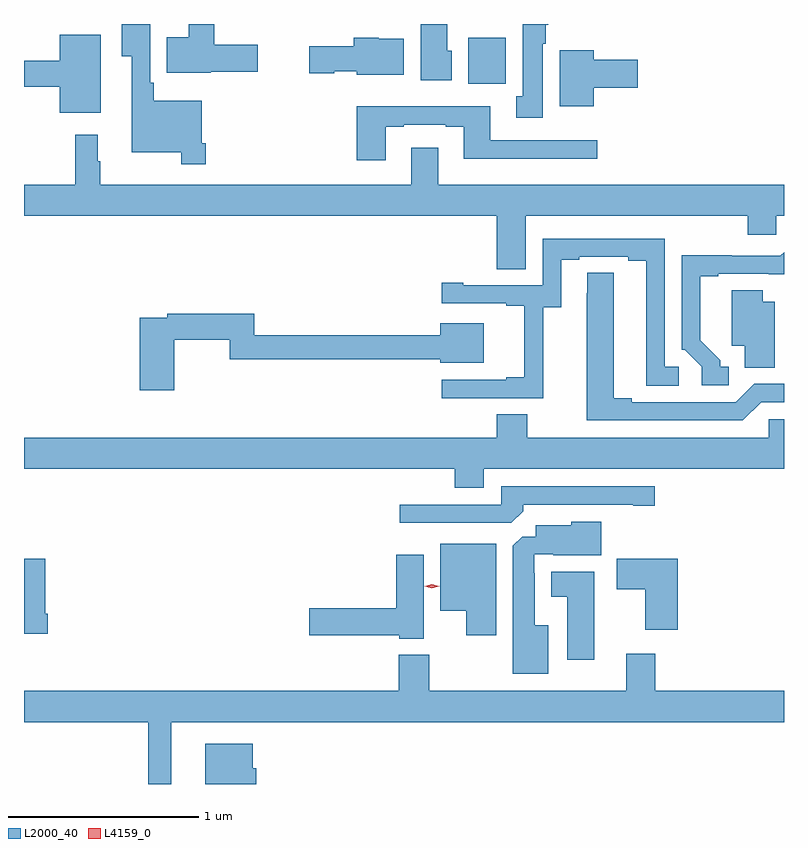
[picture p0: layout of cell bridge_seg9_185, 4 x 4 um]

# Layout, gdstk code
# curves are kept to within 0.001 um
import gdstk
lib = gdstk.Library(unit=1e-6, precision=1e-09)
def R(c, l, rs):  # rectangles x0, y0, x1, y1
    for r in rs: c.add(gdstk.rectangle(r[:2], r[2:], *l))
def P(c, l, *ps):  # polygons
    for p in ps: c.add(gdstk.Polygon(p, *l))
L2000_40 = (2000, 40)
L4159_0 = (4159, 0)

bridge_seg9_185 = lib.new_cell('bridge_seg9_185')
R(bridge_seg9_185, L2000_40, [(229.445,1215.764,229.642,1216.006)])
P(bridge_seg9_185, L2000_40, [(229.357,1215.936),(229.333,1215.936),(229.333,1216.078),(229.193,1216.078),(229.193,1215.782),(229.357,1215.782)],
  [(229.837,1215.974),(229.852,1215.974),(229.852,1216.074),(229.864,1216.074),(229.864,1216.078),(229.73,1216.078),(229.73,1215.698),(229.697,1215.698),(229.697,1215.585),(229.837,1215.585)],
  [(228.09,1215.827),(228.337,1215.827),(228.337,1215.969),(228.107,1215.969),(228.107,1216.078),(227.972,1216.078),(227.972,1216.009),(227.858,1216.009),(227.858,1215.821),(228.09,1215.821)],
  [(228.062,1215.451),(228.042,1215.451),(228.042,1215.673),(227.789,1215.673),(227.789,1215.769),(227.77,1215.769),(227.77,1216.078),(227.621,1216.078),(227.621,1215.908),(227.672,1215.908),(227.672,1215.404),(227.934,1215.404),(227.934,1215.339),(228.062,1215.339)],
  [(227.509,1216.021),(227.294,1216.021),(227.294,1215.884),(227.106,1215.884),(227.106,1215.748),(227.294,1215.748),(227.294,1215.611),(227.509,1215.611)],
  [(229.105,1216),(228.972,1216),(228.972,1216.006),(228.842,1216.006),(228.842,1215.96),(228.606,1215.96),(228.606,1215.818),(228.738,1215.818),(228.738,1215.83),(228.858,1215.83),(228.858,1215.812),(229.105,1215.812)],
  [(230.104,1215.743),(230.335,1215.743),(230.335,1215.89),(230.104,1215.89),(230.104,1215.94),(229.925,1215.94),(229.925,1215.644),(230.104,1215.644)],
  [(229.009,1215.537),(229.105,1215.537),(229.105,1215.549),(229.325,1215.549),(229.325,1215.537),(229.421,1215.537),(229.421,1215.368),(230.122,1215.368),(230.122,1215.465),(229.561,1215.465),(229.561,1215.646),(228.857,1215.646),(228.857,1215.36),(229.009,1215.36)],
  [(229.747,1215.068),(230.915,1215.068),(230.915,1214.97),(231.066,1214.97),(231.066,1215.068),(231.106,1215.068),(231.106,1215.232),(229.285,1215.232),(229.285,1215.427),(229.145,1215.427),(229.145,1215.232),(227.506,1215.232),(227.506,1215.356),(227.494,1215.356),(227.494,1215.496),(227.377,1215.496),(227.377,1215.232),(227.106,1215.232),(227.106,1215.068),(229.595,1215.068),(229.595,1214.788),(229.747,1214.788)],
  [(229.839,1214.587),(229.933,1214.587),(229.933,1214.838),(230.029,1214.838),(230.029,1214.853),(230.285,1214.853),(230.285,1214.833),(230.381,1214.833),(230.381,1214.173),(230.551,1214.173),(230.551,1214.274),(230.478,1214.274),(230.478,1214.949),(229.836,1214.949),(229.836,1214.703),(229.417,1214.703),(229.417,1214.716),(229.305,1214.716),(229.305,1214.607),(229.643,1214.607),(229.643,1214.595),(229.739,1214.595),(229.739,1214.218),(229.643,1214.218),(229.643,1214.205),(229.305,1214.205),(229.305,1214.109),(229.839,1214.109)],
  [(230.815,1214.274),(230.77,1214.274),(230.77,1214.309),(230.665,1214.414),(230.665,1214.751),(230.761,1214.751),(230.761,1214.763),(231.106,1214.762),(231.106,1214.878),(231.087,1214.859),(230.831,1214.859),(230.831,1214.861),(230.568,1214.861),(230.568,1214.364),(230.583,1214.364),(230.673,1214.274),(230.673,1214.178),(230.815,1214.178)],
  [(230.985,1214.088),(231.106,1214.088),(231.106,1214.184),(230.949,1214.184),(230.853,1214.088),(230.305,1214.088),(230.305,1214.108),(230.209,1214.108),(230.209,1214.768),(230.07,1214.768),(230.069,1213.992),(230.889,1213.992)],
  [(231.058,1214.617),(230.995,1214.617),(230.995,1214.678),(230.831,1214.678),(230.831,1214.384),(230.9,1214.384),(230.9,1214.269),(231.058,1214.269)],
  [(227.897,1214.416),(228.189,1214.416),(228.189,1214.313),(229.298,1214.313),(229.298,1214.294),(229.525,1214.294),(229.525,1214.503),(229.298,1214.503),(229.298,1214.441),(228.317,1214.441),(228.317,1214.552),(227.86,1214.552),(227.86,1214.532),(227.714,1214.532),(227.714,1214.151),(227.897,1214.151)],
  [(227.106,1213.736),(229.373,1213.736),(229.373,1213.637),(229.525,1213.637),(229.525,1213.736),(231.106,1213.736),(231.106,1213.998),(231.027,1213.998),(231.027,1213.9),(229.755,1213.9),(229.755,1214.024),(229.595,1214.024),(229.595,1213.9),(227.106,1213.9)],
  [(229.733,1213.514),(229.733,1213.548),(230.312,1213.548),(230.312,1213.543),(230.425,1213.543),(230.425,1213.644),(229.617,1213.644),(229.617,1213.548),(229.083,1213.548),(229.083,1213.452),(229.671,1213.452)],
  [(229.864,1212.913),(229.795,1212.913),(229.795,1213.187),(229.791,1213.187),(229.791,1213.287),(229.891,1213.287),(229.891,1213.283),(230.143,1213.283),(230.143,1213.459),(229.986,1213.459),(229.986,1213.441),(229.799,1213.441),(229.799,1213.38),(229.728,1213.38),(229.679,1213.331),(229.679,1212.659),(229.864,1212.659)],
  [(229.591,1213.342),(229.298,1213.342),(229.298,1212.989),(229.433,1212.989),(229.433,1212.861),(229.591,1212.861)],
  [(229.21,1213.285),(229.064,1213.285),(229.064,1213.004),(228.606,1213.004),(228.606,1212.862),(229.08,1212.862),(229.08,1212.842),(229.21,1212.842)],
  [(227.231,1212.973),(227.218,1212.973),(227.218,1213.264),(227.106,1213.264),(227.106,1212.869),(227.231,1212.869)],
  [(230.546,1213.264),(230.226,1213.264),(230.226,1213.102),(230.375,1213.102),(230.375,1212.891),(230.546,1212.891)],
  [(230.107,1213.195),(229.88,1213.195),(229.88,1213.064),(229.964,1213.064),(229.964,1212.732),(230.107,1212.732)],
  [(227.881,1212.404),(231.106,1212.404),(231.106,1212.568),(230.429,1212.568),(230.429,1212.763),(230.276,1212.763),(230.276,1212.568),(229.239,1212.568),(229.239,1212.757),(229.079,1212.757),(229.079,1212.568),(227.106,1212.568),(227.106,1212.404),(227.76,1212.404),(227.76,1212.078),(227.881,1212.078)],
  [(228.328,1212.162),(228.31,1212.162),(228.31,1212.289),(228.059,1212.289),(228.059,1212.078),(228.328,1212.078)])
P(bridge_seg9_185, L4159_0, [(229.253,1213.109),(229.214,1213.118),(229.214,1213.118),(229.214,1213.118),(229.252,1213.129),(229.291,1213.12),(229.292,1213.119),(229.291,1213.119)])

lib.write_gds('bridge_seg9_185.gds')
